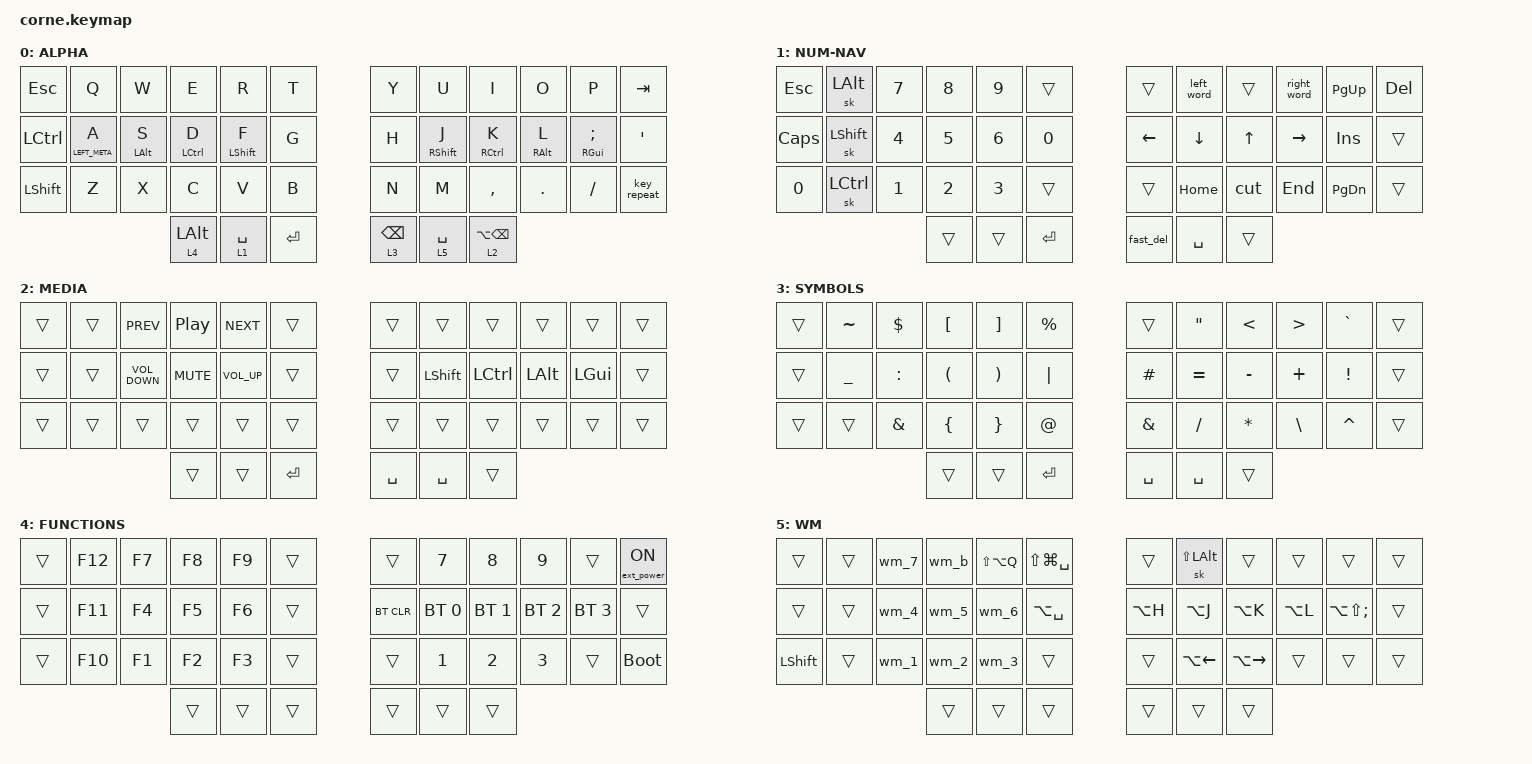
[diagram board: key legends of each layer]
/*
 * Copyright (c) 2020 The ZMK Contributors
 *
 * SPDX-License-Identifier: MIT
 */

#include <behaviors.dtsi>
#include <dt-bindings/zmk/bt.h>
#include <dt-bindings/zmk/ext_power.h>
#include <dt-bindings/zmk/keys.h>

/ {
    behaviors {
        hml: homerow_mods_left {
            compatible = "zmk,behavior-hold-tap";
            label = "HOMEROW_MODS_LEFT_HAND";
            bindings = <&kp>, <&kp>;

            #binding-cells = <2>;
            tapping-term-ms = <280>;
            hold-trigger-key-positions = <6 18 30 39 40 7 8 9 10 11 19 20 21 22 23 31 32 33 34 35 41>;
            quick-tap-ms = <175>;
            require-prior-idle-ms = <150>;
            flavor = "tap-preferred";
        };

        hmr: homerow_mods_right {
            compatible = "zmk,behavior-hold-tap";
            label = "HOMEROW_MODS_RIGHT_HAND";
            bindings = <&kp>, <&kp>;

            #binding-cells = <2>;
            tapping-term-ms = <280>;
            hold-trigger-key-positions = <0 1 2 3 4 5 12 13 14 15 16 17 24 25 26 27 28 29 36 37 38>;
            quick-tap-ms = <175>;
            require-prior-idle-ms = <150>;
            flavor = "tap-preferred";
        };

        wm_1: wm_1 {
            compatible = "zmk,behavior-tap-dance";
            label = "WM_1";
            #binding-cells = <0>;
            bindings = <&kp LA(NUMBER_1)>, <&kp LA(LS(NUMBER_1))>;
        };

        wm_2: wm_2 {
            compatible = "zmk,behavior-tap-dance";
            label = "WM_2";
            #binding-cells = <0>;
            bindings = <&kp LA(NUMBER_2)>, <&kp LA(LS(NUMBER_2))>;
        };

        wm_3: wm_3 {
            compatible = "zmk,behavior-tap-dance";
            label = "WM_3";
            #binding-cells = <0>;
            bindings = <&kp LA(NUMBER_3)>, <&kp LA(LS(NUMBER_3))>;
        };

        wm_4: wm_4 {
            compatible = "zmk,behavior-tap-dance";
            label = "WM_4";
            #binding-cells = <0>;
            bindings = <&kp LA(NUMBER_4)>, <&kp LA(LS(NUMBER_4))>;
        };

        wm_5: wm_5 {
            compatible = "zmk,behavior-tap-dance";
            label = "WM_5";
            #binding-cells = <0>;
            bindings = <&kp LA(NUMBER_5)>, <&kp LA(LS(N5))>;
        };

        wm_6: wm_6 {
            compatible = "zmk,behavior-tap-dance";
            label = "WM_6";
            #binding-cells = <0>;
            bindings = <&kp LA(NUMBER_6)>, <&kp LA(LS(NUMBER_6))>;
        };

        wm_7: wm_7 {
            compatible = "zmk,behavior-tap-dance";
            label = "WM_7";
            #binding-cells = <0>;
            bindings = <&kp LA(N7)>, <&kp LA(LS(N7))>;
        };

        wm_b: wm_b {
            compatible = "zmk,behavior-tap-dance";
            label = "WM_B";
            #binding-cells = <0>;
            bindings = <&kp LA(B)>, <&kp LA(LS(B))>;
        };
    };

    combos {
        compatible = "zmk,combos";

        Copy {
            bindings = <&kp LC(INSERT)>;
            key-positions = <3 2 4>;
            layers = <0>;
        };

        Paste {
            bindings = <&kp LS(INS)>;
            key-positions = <14 15 16>;
            layers = <0>;
        };

        Cut {
            bindings = <&kp LS(DELETE)>;
            key-positions = <26 28 27>;
            layers = <0>;
        };

        prog-less {
            bindings = <&kp LT>;
            key-positions = <32 19>;
            layers = <0>;
        };

        prog-equals {
            bindings = <&kp EQUAL>;
            key-positions = <19 21 20>;
            layers = <0>;
        };

        prog-colon {
            bindings = <&kp COLON>;
            key-positions = <7 8 9>;
            layers = <0>;
        };

        enie {
            bindings = <&kp RA(N)>;
            key-positions = <36 19>;
            layers = <0>;
        };

        enie-mac {
            bindings = <&enie_mac>;
            key-positions = <36 19 16>;
            layers = <0>;
        };

        huh {
            bindings = <&kp QUESTION>;
            key-positions = <14 15 4>;
        };

        chin {
            bindings = <&kp EXCLAMATION>;
            key-positions = <25 26 3>;
        };

        minus {
            bindings = <&kp MINUS>;
            key-positions = <19 18>;
        };

        under {
            bindings = <&kp UNDER>;
            key-positions = <31 30>;
        };

        accent {
            bindings = <&kp SINGLE_QUOTE>;
            key-positions = <16 20>;
        };
    };

    macros {
        cut: cut {
            compatible = "zmk,behavior-macro";
            #binding-cells = <0>;
            bindings = <&kp LS(DEL)>;
            label = "CUT";
        };

        copy: copy {
            compatible = "zmk,behavior-macro";
            #binding-cells = <0>;
            bindings = <&kp LC(INS)>;
            label = "COPY";
        };

        paste: paste {
            compatible = "zmk,behavior-macro";
            #binding-cells = <0>;
            bindings = <&kp LS(INS)>;
            label = "PASTE";
        };

        enie_mac: enie_mac {
            compatible = "zmk,behavior-macro";
            #binding-cells = <0>;
            bindings = <&kp LA(N) &kp N &kp N>;
            label = "ENIE_MAC";
        };

        left_word: left_word {
            compatible = "zmk,behavior-macro";
            #binding-cells = <0>;
            bindings = <&kp LC(LEFT)>;
            label = "LEFT_WORD";
        };

        right_word: right_word {
            compatible = "zmk,behavior-macro";
            #binding-cells = <0>;
            bindings = <&kp LC(RIGHT)>;
            label = "RIGHT_WORD";
        };

        fast_del: fast_del {
            compatible = "zmk,behavior-macro";
            #binding-cells = <0>;
            bindings = <&kp LC(BACKSPACE)>;
            label = "FAST_DEL";
        };
    };

    keymap {
        compatible = "zmk,keymap";

        alpha {
            display-name = "ALPHA";

            // -----------------------------------------------------------------------------------------
            // |  TAB |  Q  |  W  |  E  |  R  |  T  |   |  Y  |  U   |  I  |  O  |  P  | BKSP |
            // | CTRL |  A  |  S  |  D  |  F  |  G  |   |  H  |  J   |  K  |  L  |  ;  |  '   |
            // | SHFT |  Z  |  X  |  C  |  V  |  B  |   |  N  |  M   |  ,  |  .  |  /  | ESC  |
            //                    | GUI | LWR | SPC |   | ENT | RSE  | ALT |

            bindings = <
&kp ESCAPE  &kp Q             &kp W        &kp E                &kp R              &kp T        &kp Y            &kp U               &kp I                 &kp O             &kp P                     &kp TAB
&kp LCTRL   &hml LEFT_META A  &hml LALT S  &hml LEFT_CONTROL D  &hml LEFT_SHIFT F  &kp G        &kp H            &hmr RIGHT_SHIFT J  &hmr RIGHT_CONTROL K  &hmr RIGHT_ALT L  &hmr RIGHT_GUI SEMICOLON  &kp SQT
&kp LSHFT   &kp Z             &kp X        &kp C                &kp V              &kp B        &kp N            &kp M               &kp COMMA             &kp PERIOD        &kp SLASH                 &key_repeat
                                           &lt 4 LEFT_ALT       &lt 1 SPACE        &kp ENTER    &lt 3 BACKSPACE  &lt 5 SPACE         &lt 2 LA(BACKSPACE)
            >;
        };

        num-nav {
            display-name = "NUM-NAV";

            // -----------------------------------------------------------------------------------------
            // |  TAB |  1  |  2  |  3  |  4  |  5  |   |  6  |  7  |  8  |  9  |  0  | BKSP |
            // | BTCLR| BT1 | BT2 | BT3 | BT4 | BT5 |   | LFT | DWN |  UP | RGT |     |      |
            // | SHFT |     |     |     |     |     |   |     |     |     |     |     |      |
            //                    | GUI |     | SPC |   | ENT |     | ALT |

            bindings = <
&kp ESCAPE  &sk LEFT_ALT    &kp N7        &kp N8        &kp N9        &trans       &trans          &left_word      &trans        &right_word  &kp PAGE_UP    &kp DELETE
&kp CAPS    &sk LEFT_SHIFT  &kp NUMBER_4  &kp N5        &kp NUMBER_6  &kp N0       &kp LEFT_ARROW  &kp DOWN_ARROW  &kp UP_ARROW  &kp RIGHT    &kp INS        &trans
&kp N0      &sk LCTRL       &kp NUMBER_1  &kp NUMBER_2  &kp NUMBER_3  &trans       &trans          &kp HOME        &cut          &kp END      &kp PAGE_DOWN  &trans
                                          &trans        &trans        &kp ENTER    &fast_del       &kp SPACE       &trans
            >;
        };

        media {
            display-name = "MEDIA";

            // -----------------------------------------------------------------------------------------
            // |  TAB |  !  |  @  |  #  |  $  |  %  |   |  ^  |  &  |  *  |  (  |  )  | BKSP |
            // | CTRL |     |     |     |     |     |   |  -  |  =  |  [  |  ]  |  \  |  `   |
            // | SHFT |     |     |     |     |     |   |  _  |  +  |  {  |  }  | "|" |  ~   |
            //                    | GUI |     | SPC |   | ENT |     | ALT |

            bindings = <
&trans  &trans  &kp C_PREV         &kp C_PLAY_PAUSE  &kp C_NEXT       &trans       &trans     &trans          &trans            &trans        &trans        &trans
&trans  &trans  &kp C_VOLUME_DOWN  &kp C_MUTE        &kp C_VOLUME_UP  &trans       &trans     &kp LEFT_SHIFT  &kp LEFT_CONTROL  &kp LEFT_ALT  &kp LEFT_GUI  &trans
&trans  &trans  &trans             &trans            &trans           &trans       &trans     &trans          &trans            &trans        &trans        &trans
                                   &trans            &trans           &kp ENTER    &kp SPACE  &kp SPACE       &trans
            >;
        };

        sym {
            display-name = "SYMBOLS";
            bindings = <
&trans  &kp TILDE  &kp DOLLAR     &kp LEFT_BRACKET      &kp RIGHT_BRACKET      &kp PERCENT    &trans     &kp DOUBLE_QUOTES  &kp LESS_THAN  &kp GREATER_THAN  &kp GRAVE        &trans
&trans  &kp UNDER  &kp COLON      &kp LEFT_PARENTHESIS  &kp RIGHT_PARENTHESIS  &kp PIPE       &kp HASH   &kp EQUAL          &kp MINUS      &kp PLUS          &kp EXCLAMATION  &trans
&trans  &trans     &kp AMPERSAND  &kp LEFT_BRACE        &kp RIGHT_BRACE        &kp AT_SIGN    &kp AMPS   &kp SLASH          &kp ASTERISK   &kp BACKSLASH     &kp CARET        &trans
                                  &trans                &trans                 &kp ENTER      &kp SPACE  &kp SPACE          &trans
            >;
        };

        fun {
            display-name = "FUNCTIONS";
            bindings = <
&trans  &kp F12  &kp F7  &kp F8  &kp F9  &trans    &trans      &kp N7        &kp N8        &kp N9        &trans        &ext_power EP_ON
&trans  &kp F11  &kp F4  &kp F5  &kp F6  &trans    &bt BT_CLR  &bt BT_SEL 0  &bt BT_SEL 1  &bt BT_SEL 2  &bt BT_SEL 3  &trans
&trans  &kp F10  &kp F1  &kp F2  &kp F3  &trans    &trans      &kp NUMBER_1  &kp NUMBER_2  &kp NUMBER_3  &trans        &bootloader
                         &trans  &trans  &trans    &trans      &trans        &trans
            >;

            label = "FUNCTION";
        };

        wm {
            bindings = <
&trans          &trans  &wm_7  &wm_b   &kp LS(LA(Q))  &kp LS(LG(SPACE))    &trans     &sk LS(LEFT_ALT)    &trans         &trans     &trans                 &trans
&trans          &trans  &wm_4  &wm_5   &wm_6          &kp LA(SPACE)        &kp LA(H)  &kp LA(J)           &kp LA(K)      &kp LA(L)  &kp LA(LS(SEMICOLON))  &trans
&kp LEFT_SHIFT  &trans  &wm_1  &wm_2   &wm_3          &trans               &trans     &kp LA(LEFT_ARROW)  &kp LA(RIGHT)  &trans     &trans                 &trans
                               &trans  &trans         &trans               &trans     &trans              &trans
            >;

            label = "WM";
        };
    };

    conditional_layers {
        compatible = "zmk,conditional-layers";

        android-shortcuts {
            if-layers = <1 3>;
            then-layer = <6>;
        };
    };
};
